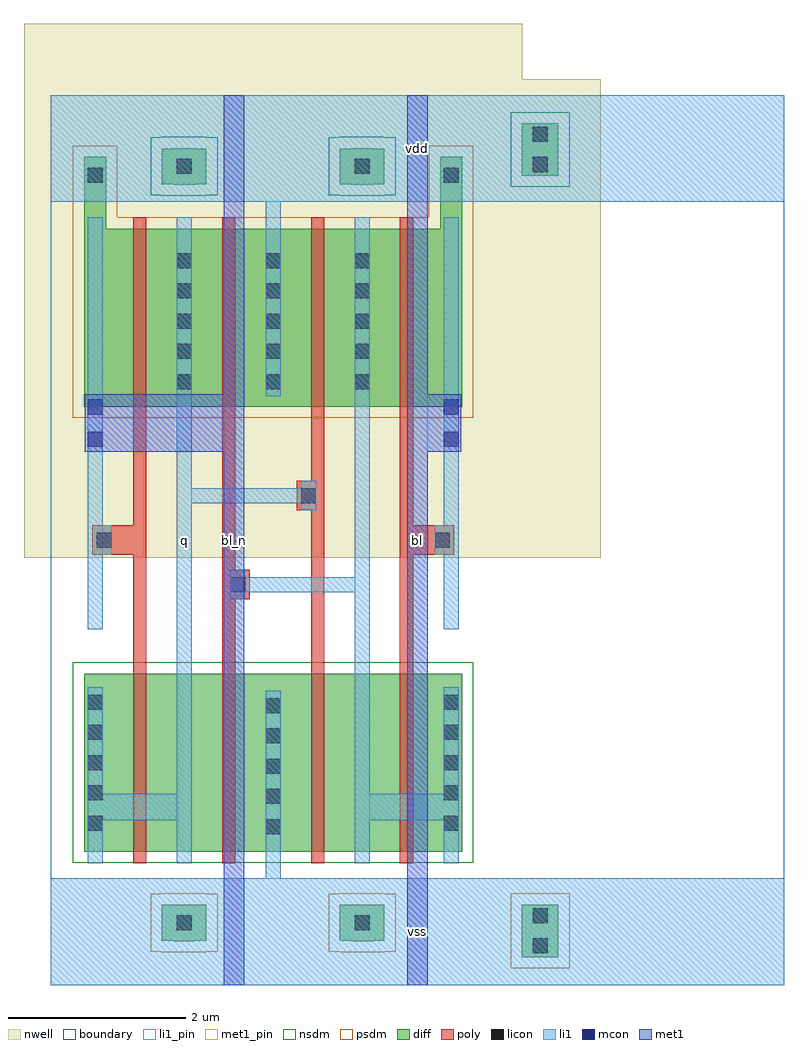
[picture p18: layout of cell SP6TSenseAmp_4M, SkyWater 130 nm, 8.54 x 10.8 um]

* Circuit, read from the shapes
.subckt SP6TSenseAmp_4M bl bl_n q vdd vss
XM1 n1 bl_n q VSUBS sky130_fd_pr__nfet_01v8 w=2 l=0.15
XM2 vss nsnrlatch_x1_0/nq n1 VSUBS sky130_fd_pr__nfet_01v8 w=2 l=0.15
XM3 n2 q vss VSUBS sky130_fd_pr__nfet_01v8 w=2 l=0.15
XM4 nsnrlatch_x1_0/nq bl n2 VSUBS sky130_fd_pr__nfet_01v8 w=2 l=0.15
XM5 q bl_n vdd n3 sky130_fd_pr__pfet_01v8 w=2 l=0.15
XM6 vdd nsnrlatch_x1_0/nq q n3 sky130_fd_pr__pfet_01v8 w=2 l=0.15
XM7 nsnrlatch_x1_0/nq q vdd n3 sky130_fd_pr__pfet_01v8 w=2 l=0.15
XM8 vdd bl nsnrlatch_x1_0/nq n3 sky130_fd_pr__pfet_01v8 w=2 l=0.15
.ends

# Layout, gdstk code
import gdstk
lib = gdstk.Library(unit=1e-6, precision=1e-09)
def R(c, l, rs):  # rectangles x0, y0, x1, y1
    for r in rs: c.add(gdstk.rectangle(r[:2], r[2:], *l))
def A(c, l, x, y, w, h, nx, ny, dx, dy):  # array of equal rectangles
    R(c, l, [(x+i*dx, y+j*dy, x+i*dx+w, y+j*dy+h) for i in range(nx) for j in range(ny)])
def P(c, l, *ps):  # polygons
    for p in ps: c.add(gdstk.Polygon(p, *l))
nwell = (64, 20)
diff = (65, 20)
poly = (66, 20)
licon = (66, 44)
li1_pin = (67, 16)
li1 = (67, 20)
mcon = (67, 44)
met1_pin = (68, 16)
met1 = (68, 20)
nsdm = (93, 44)
psdm = (94, 20)
boundary = (235, 4)

nsnrlatch_x1 = lib.new_cell('nsnrlatch_x1')
R(nsnrlatch_x1, nwell, [(-0.3,4.8,5.3,10.8)])
R(nsnrlatch_x1, diff, [(0.375,1.5,4.625,3.5)])
P(nsnrlatch_x1, diff, [(1.375,0.495),(1.375,0.5),(1.25,0.5),(1.25,0.9),(1.375,0.9),(1.375,0.905),(1.625,0.905),(1.625,0.9),(1.75,0.9),(1.75,0.5),(1.625,0.5),(1.625,0.495)],
  [(3.375,0.495),(3.375,0.5),(3.25,0.5),(3.25,0.9),(3.375,0.9),(3.375,0.905),(3.625,0.905),(3.625,0.9),(3.75,0.9),(3.75,0.5),(3.625,0.5),(3.625,0.495)],
  [(0.375,6.5),(0.375,9.305),(0.625,9.305),(0.625,8.5),(4.375,8.5),(4.375,9.305),(4.625,9.305),(4.625,6.5)],
  [(3.375,8.995),(3.375,9),(3.25,9),(3.25,9.4),(3.375,9.4),(3.375,9.405),(3.625,9.405),(3.625,9.4),(3.75,9.4),(3.75,9),(3.625,9),(3.625,8.995)],
  [(1.375,8.995),(1.375,9),(1.25,9),(1.25,9.4),(1.375,9.4),(1.375,9.405),(1.625,9.405),(1.625,9.4),(1.75,9.4),(1.75,9),(1.625,9),(1.625,8.995)])
P(nsnrlatch_x1, poly, [(1.925,1.37),(1.925,8.63),(2.075,8.63),(2.075,4.665),(2.235,4.665),(2.235,4.335),(2.075,4.335),(2.075,1.37)],
  [(2.925,1.37),(2.925,5.335),(2.765,5.335),(2.765,5.665),(2.925,5.665),(2.925,8.63),(3.075,8.63),(3.075,1.37)],
  [(3.925,1.37),(3.925,8.63),(4.075,8.63),(4.075,5.165),(4.535,5.165),(4.535,4.835),(4.075,4.835),(4.075,1.37)],
  [(0.925,1.37),(0.925,4.835),(0.465,4.835),(0.465,5.165),(0.925,5.165),(0.925,8.63),(1.075,8.63),(1.075,1.37)])
A(nsnrlatch_x1, licon, 2.415, 1.695, 0.17, 0.17, 1, 5, 0, 0.34)
A(nsnrlatch_x1, licon, 0.415, 1.735, 0.17, 0.17, 1, 5, 0, 0.34)
A(nsnrlatch_x1, licon, 4.415, 1.735, 0.17, 0.17, 1, 5, 0, 0.34)
A(nsnrlatch_x1, licon, 1.415, 6.695, 0.17, 0.17, 3, 5, 1, 0.34)
R(nsnrlatch_x1, licon, [(1.415,0.615,1.585,0.785), (3.415,0.615,3.585,0.785), (2.015,4.415,2.185,4.585), (0.515,4.915,0.685,5.085), (4.315,4.915,4.485,5.085), (2.815,5.415,2.985,5.585), (0.415,9.015,0.585,9.185), (4.415,9.015,4.585,9.185), (1.415,9.115,1.585,9.285), (3.415,9.115,3.585,9.285)])
R(nsnrlatch_x1, li1_pin, [(0,0,5,1.2), (1.415,1.37,1.585,8.63), (3.415,1.37,3.585,8.63), (0.415,4,0.585,8.63), (4.415,4,4.585,8.63), (0,8.8,5,10)])
P(nsnrlatch_x1, li1, [(0,0),(0,1.2),(2.415,1.2),(2.415,3.305),(2.585,3.305),(2.585,1.2),(5,1.2),(5,0)],
  [(3.415,1.37),(3.415,4.415),(2.185,4.415),(2.185,4.335),(2.015,4.335),(2.015,4.665),(2.185,4.665),(2.185,4.585),(3.415,4.585),(3.415,8.63),(3.585,8.63),(3.585,2.15),(4.415,2.15),(4.415,3.345),(4.585,3.345),(4.585,1.37),(4.415,1.37),(4.415,1.85),(3.585,1.85),(3.585,1.37)],
  [(0.415,1.37),(0.415,3.345),(0.585,3.345),(0.585,2.15),(1.415,2.15),(1.415,8.63),(1.585,8.63),(1.585,5.585),(2.815,5.585),(2.815,5.665),(2.985,5.665),(2.985,5.335),(2.815,5.335),(2.815,5.415),(1.585,5.415),(1.585,1.37),(1.415,1.37),(1.415,1.85),(0.585,1.85),(0.585,1.37)],
  [(2.415,6.615),(2.415,8.8),(0,8.8),(0,10),(5,10),(5,8.8),(2.585,8.8),(2.585,6.615)],
  [(4.415,4),(4.415,4.835),(4.315,4.835),(4.315,5.165),(4.415,5.165),(4.415,8.63),(4.585,8.63),(4.585,4)],
  [(0.415,4),(0.415,8.63),(0.585,8.63),(0.585,5.165),(0.685,5.165),(0.685,4.835),(0.585,4.835),(0.585,4)])
R(nsnrlatch_x1, nsdm, [(0.25,1.375,4.75,3.625)])
P(nsnrlatch_x1, nsdm, [(3.25,8.87),(3.25,8.875),(3.125,8.875),(3.125,9.525),(3.25,9.525),(3.25,9.53),(3.75,9.53),(3.75,9.525),(3.875,9.525),(3.875,8.875),(3.75,8.875),(3.75,8.87)],
  [(1.25,8.87),(1.25,8.875),(1.125,8.875),(1.125,9.525),(1.25,9.525),(1.25,9.53),(1.75,9.53),(1.75,9.525),(1.875,9.525),(1.875,8.875),(1.75,8.875),(1.75,8.87)])
P(nsnrlatch_x1, psdm, [(3.25,0.37),(3.25,0.375),(3.125,0.375),(3.125,1.025),(3.25,1.025),(3.25,1.03),(3.75,1.03),(3.75,1.025),(3.875,1.025),(3.875,0.375),(3.75,0.375),(3.75,0.37)],
  [(0.25,6.375),(0.25,9.43),(0.75,9.43),(0.75,8.625),(4.25,8.625),(4.25,9.43),(4.75,9.43),(4.75,6.375)],
  [(1.25,0.37),(1.25,0.375),(1.125,0.375),(1.125,1.025),(1.25,1.025),(1.25,1.03),(1.75,1.03),(1.75,1.025),(1.875,1.025),(1.875,0.375),(1.75,0.375),(1.75,0.37)])
nsnrlatch_x1.add(gdstk.Label('vss', (2.5,0.6), layer=67, texttype=16))
nsnrlatch_x1.add(gdstk.Label('nq', (3.5,5), layer=67, texttype=16))
nsnrlatch_x1.add(gdstk.Label('q', (1.5,5), layer=67, texttype=16))
nsnrlatch_x1.add(gdstk.Label('vdd', (2.5,9.4), layer=67, texttype=16))
nsnrlatch_x1.add(gdstk.Label('nrst', (4.5,6.315), layer=67, texttype=16))
nsnrlatch_x1.add(gdstk.Label('nset', (0.5,6.315), layer=67, texttype=16))

tie = lib.new_cell('tie')
R(tie, nwell, [(-0.18,4.8,1.18,10.18)])
R(tie, diff, [(0.295,0.315,0.705,0.905), (0.295,9.095,0.705,9.685)])
R(tie, licon, [(0.415,0.355,0.585,0.525), (0.415,0.695,0.585,0.865), (0.415,9.135,0.585,9.305), (0.415,9.475,0.585,9.645)])
R(tie, li1_pin, [(0,0,1,1.2), (0,8.8,1,10)])
R(tie, li1, [(0,0,1,1.2), (0,8.8,1,10)])
R(tie, nsdm, [(0.17,8.97,0.83,9.81)])
R(tie, psdm, [(0.17,0.19,0.83,1.03)])
tie.add(gdstk.Label('vdd', (0.5,9.4), layer=67, texttype=16))
tie.add(gdstk.Label('vss', (0.5,0.6), layer=67, texttype=16))

sp6tsenseamp_4m = lib.new_cell('SP6TSenseAmp_4M')
R(sp6tsenseamp_4m, li1_pin, [(0,0,8.24,1.2), (1.415,1.37,1.585,8.63), (0,8.8,8.24,10)])
R(sp6tsenseamp_4m, li1, [(0,0,8.24,1.2), (1.415,1.37,1.585,8.63), (0.415,6.05,0.585,6.58), (4.415,6.05,4.585,6.58), (0,8.8,8.24,10)])
R(sp6tsenseamp_4m, mcon, [(0.415,6.05,0.585,6.22), (4.415,6.05,4.585,6.22), (0.415,6.41,0.585,6.58), (4.415,6.41,4.585,6.58)])
R(sp6tsenseamp_4m, met1_pin, [(1.945,0,2.175,10), (4.005,0,4.235,10)])
P(sp6tsenseamp_4m, met1, [(4.005,0),(4.005,10),(4.235,10),(4.235,6.64),(4.615,6.64),(4.615,5.99),(4.235,5.99),(4.235,0)],
  [(1.945,0),(1.945,5.99),(0.385,5.99),(0.385,6.64),(1.945,6.64),(1.945,10),(2.175,10),(2.175,0)])
R(sp6tsenseamp_4m, boundary, [(0,0,8.24,10)])
sp6tsenseamp_4m.add(gdstk.Reference(nsnrlatch_x1, (0,0)))
sp6tsenseamp_4m.add(gdstk.Reference(tie, (5,0)))
sp6tsenseamp_4m.add(gdstk.Label('bl', (4.12,5), layer=68, texttype=16))
sp6tsenseamp_4m.add(gdstk.Label('bl_n', (2.06,5), layer=68, texttype=16))
sp6tsenseamp_4m.add(gdstk.Label('vss', (4.12,0.6), layer=67, texttype=16))
sp6tsenseamp_4m.add(gdstk.Label('vdd', (4.12,9.4), layer=67, texttype=16))
sp6tsenseamp_4m.add(gdstk.Label('q', (1.5,5), layer=67, texttype=16))

lib.write_gds('SP6TSenseAmp_4M.gds')
